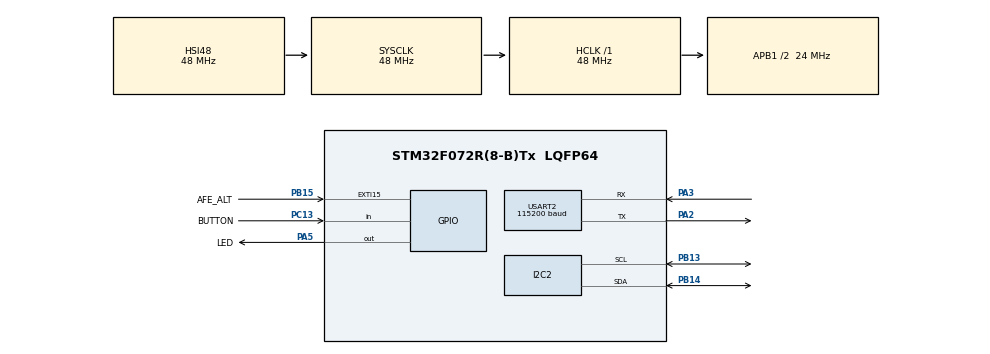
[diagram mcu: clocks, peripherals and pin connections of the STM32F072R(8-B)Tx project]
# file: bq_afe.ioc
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I2C2.NoStretchMode=I2C_NOSTRETCH_DISABLE
I2C2.Speed=100
I2C2.Timing=0x00506682
Mcu.Family=STM32F0
Mcu.Name=STM32F072R(8-B)Tx
Mcu.Package=LQFP64
NVIC.EXTI4_15_IRQn=true\:2\:0\:true\:false\:true\:true\:true
PA2.Mode=Asynchronous
PA2.Signal=USART2_TX
PA3.Mode=Asynchronous
PA3.Signal=USART2_RX
PA5.GPIO_Label=LED
PA5.Signal=GPIO_Output
PB13.Mode=I2C
PB13.Signal=I2C2_SCL
PB14.Mode=I2C
PB14.Signal=I2C2_SDA
PB15.GPIO_Label=AFE_ALT
PB15.GPIO_ModeDefaultEXTI=GPIO_MODE_IT_FALLING
PB15.GPIO_PuPd=GPIO_PULLDOWN
PB15.Signal=GPXTI15
PC13.GPIO_Label=BUTTON
PC13.Signal=GPIO_Input
ProjectManager.HeapSize=0x200
ProjectManager.StackSize=0x400
ProjectManager.TargetToolchain=STM32CubeIDE
RCC.AHBFreq_Value=48000000
RCC.APB1CLKDivider=RCC_HCLK_DIV2
RCC.APB1Freq_Value=24000000
RCC.APB1TimFreq_Value=48000000
RCC.HCLKFreq_Value=48000000
RCC.SYSCLKFreq_VALUE=48000000
RCC.SYSCLKSource=RCC_SYSCLKSOURCE_HSI48
USART2.BaudRate=115200
USART2.VirtualMode-Asynchronous=VM_ASYNC
board=NUCLEO-F072RB

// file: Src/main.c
/* USER CODE BEGIN Header */
/**
  ******************************************************************************
  * @file           : main.c
  * @brief          : Main program body
  ******************************************************************************
  * @attention
  *
  * <h2><center>&copy; Copyright (c) 2019 STMicroelectronics.
  * All rights reserved.</center></h2>
  *
  * This software component is licensed by ST under BSD 3-Clause license,
  * the "License"; You may not use this file except in compliance with the
  * License. You may obtain a copy of the License at:
  *                        opensource.org/licenses/BSD-3-Clause
  *
  ******************************************************************************
  */
/* USER CODE END Header */

#include "main.h"
#include "i2c.h"
#include "usart.h"
#include "gpio.h"

/* USER CODE BEGIN Includes */
#include "printf_override.h"
#include "bq_afe.h"
#include "stdbool.h"
/* USER CODE END Includes */

/* USER CODE BEGIN PV */
UART_HandleTypeDef huart2;

/* USER CODE END PV */

void SystemClock_Config(void);

int main(void)
{

  /* MCU Configuration--------------------------------------------------------*/

  /* Reset of all peripherals, Initializes the Flash interface and the Systick. */
  HAL_Init();

  /* Configure the system clock */
  SystemClock_Config();

  /* Initialize all configured peripherals */
  MX_GPIO_Init();
  MX_I2C2_Init();
  MX_USART2_UART_Init();
  /* USER CODE BEGIN 2 */
  printf("\r\nStarting...\r\n");
  HAL_Delay(1000);
  afe_init();
  HAL_Delay(5000);
  /* USER CODE END 2 */

  /* Infinite loop */
  /* USER CODE BEGIN WHILE */
  while (1)
  {
	  float temp1, temp2, bat;
	  float cell_voltages[10];
	  HAL_StatusTypeDef status_temp, status_volt;

	  status_temp = afe_measure_temps(&temp1, &temp2);
	  status_volt = afe_measure_voltages(cell_voltages, &bat);

	  if(status_temp == HAL_OK && status_volt == HAL_OK) {
		  printf("Temp1: %0.2f degC\n", temp1); //remember to enable -u _printf_float in linker flags
		  printf("Temp2: %0.2f degC\n", temp2);
		  printf("Battery Voltage %0.2fmV\n", bat);
		  for(int i = 0; i < 10; i++) {
			  printf("\tCell %d: %0.2fmV\n", i+1, cell_voltages[i]);
		  }
		  printf("\n");
	  }
	  else printf("Can't read from AFE!\n");
//	  bool xready, uv, ov;
//	  HAL_StatusTypeDef status;
//
//	  printf("SYS_STAT register: ");
//	  status = i2c_print_reg(AFE_ADDR, SYS_STAT_REG);
//	  printf("\tHAL_OK?: %d\n", status == HAL_OK);
//
//	  status = afe_onAlert(&xready, &uv, &ov);
//	  printf("Status Register Contents: XREADY:%d\tUV:%d\tOV:%d\n", xready, uv, ov);
//	  printf("\tHAL_OK?: %d\n", status == HAL_OK);
//
//	  printf("Trying to balance lower\n");
//	  status = afe_balance_lower((uint8_t)8);
//	  printf("\tHAL_OK?: %d\n", status == HAL_OK);
//
//	  printf("BALANCE_LOWER register: ");
//	  status = i2c_print_reg(AFE_ADDR, CELL_BAL_1_REG);
//	  printf("\tHAL_OK?: %d\n", status == HAL_OK);
//
//	  HAL_Delay(5000);
//
//	  printf("Shutting down AFE\n");
//	  status = afe_shutdown();
//	  printf("\tHAL_OK?: %d\n", status == HAL_OK);
//
	  HAL_Delay(1000);
//	  printf("\n");
//	  while(1);

    /* USER CODE END WHILE */

  }
}

void SystemClock_Config(void)
{
  RCC_OscInitTypeDef RCC_OscInitStruct = {0};
  RCC_ClkInitTypeDef RCC_ClkInitStruct = {0};
  RCC_PeriphCLKInitTypeDef PeriphClkInit = {0};

  /** Initializes the CPU, AHB and APB busses clocks
  */
  RCC_OscInitStruct.OscillatorType = RCC_OSCILLATORTYPE_HSI48;
  RCC_OscInitStruct.HSI48State = RCC_HSI48_ON;
  RCC_OscInitStruct.PLL.PLLState = RCC_PLL_NONE;
  if (HAL_RCC_OscConfig(&RCC_OscInitStruct) != HAL_OK)
  {
    Error_Handler();
  }
  /** Initializes the CPU, AHB and APB busses clocks
  */
  RCC_ClkInitStruct.ClockType = RCC_CLOCKTYPE_HCLK|RCC_CLOCKTYPE_SYSCLK
                              |RCC_CLOCKTYPE_PCLK1;
  RCC_ClkInitStruct.SYSCLKSource = RCC_SYSCLKSOURCE_HSI48;
  RCC_ClkInitStruct.AHBCLKDivider = RCC_SYSCLK_DIV1;
  RCC_ClkInitStruct.APB1CLKDivider = RCC_HCLK_DIV2;

  if (HAL_RCC_ClockConfig(&RCC_ClkInitStruct, FLASH_LATENCY_1) != HAL_OK)
  {
    Error_Handler();
  }
  PeriphClkInit.PeriphClockSelection = RCC_PERIPHCLK_USART2;
  PeriphClkInit.Usart2ClockSelection = RCC_USART2CLKSOURCE_PCLK1;
  if (HAL_RCCEx_PeriphCLKConfig(&PeriphClkInit) != HAL_OK)
  {
    Error_Handler();
  }
}

/* USER CODE BEGIN 4 */
void HAL_GPIO_EXTI_Callback(uint16_t GPIO_Pin)
{
    if (GPIO_Pin == AFE_ALT_Pin) {
    }
}
/* USER CODE END 4 */

void Error_Handler(void)
{
}

/************************ (C) COPYRIGHT STMicroelectronics *****END OF FILE****/
